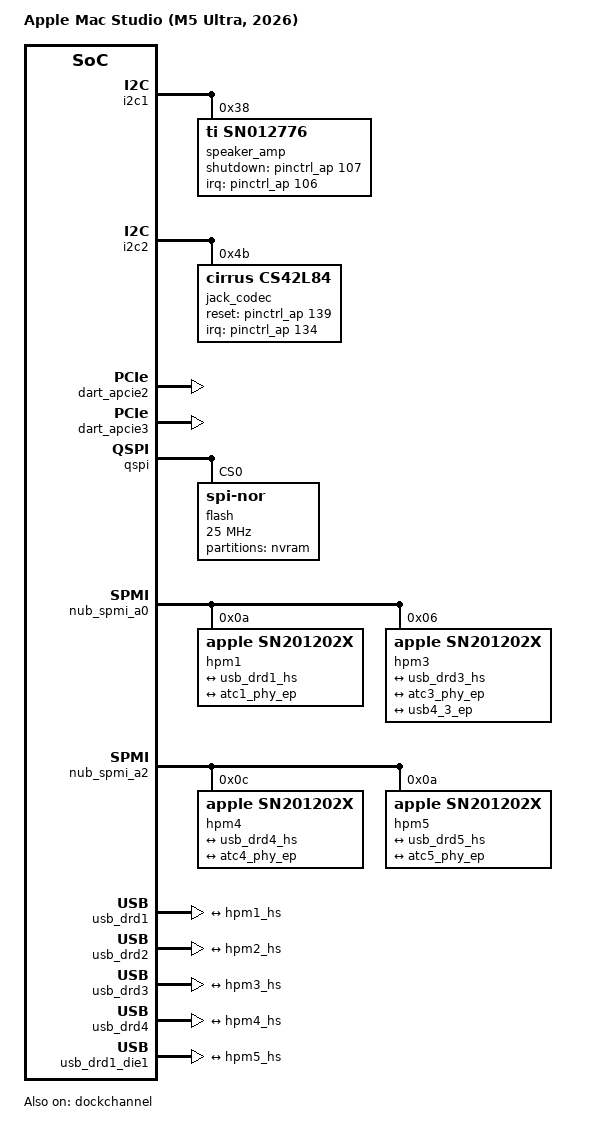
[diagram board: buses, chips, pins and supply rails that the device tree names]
// SPDX-License-Identifier: GPL-2.0+ OR MIT
/*
 * Mac Studio (M5 Ultra, 2026)
 *
 * target-type: J775D
 *
 * Copyright The Asahi Linux Contributors
 */

/dts-v1/;

#include "t6050-ultra.dtsi"

/ {
	compatible = "apple,j775d", "apple,t6050", "apple,arm-platform";
	model = "Apple Mac Studio (M5 Ultra, 2026)";
	chassis-type = "desktop";

	aliases {
		serial0 = &dockchannel;
		/* the boot loader fills in the MAC address through this alias */
		ethernet0 = &ethernet0;
		/* kboot fills the N1's factory addresses from /chosen through these */
		wifi0 = &n1_alpha;
		bluetooth0 = &n1_beta;
		/* Aura's kboot_setup_atc() fills this PHY's tunables from /arm-io/atc-phy2. */
		atcphy2 = &atc2_phy;
		/* The same fills /arm-io/atc-phy1's (rear USB-C port 2, USB data). */
		atcphy1 = &atc1_phy;
		/* And rear port 4's and the front ports' (die 1), while their chains wait for the PHY. */
		atcphy3 = &atc3_phy;
		atcphy4 = &atc4_phy;
		atcphy5 = &atc1_phy_die1;
		/* Aura's ACIO tunable copy fills rear port 4's router (/arm-io/acio3) through these. */
		usb4-3-acio = &acio3;
		usb4-3-nhi = &acio3_nhi;
		/* asahi-bless and the boot loader's dt_set_nvram find the partition by this alias */
		nvram = &nvram;
	};

	/*
	 * No stdout-path: the boot loader passes the console on the command
	 * line when it wants one.
	 */
	chosen {
		#address-cells = <2>;
		#size-cells = <2>;
		ranges;
	};

	/*
	 * The jack (CS42L84) and the speaker (SN012776) through the AOP's audio services. The card waits
	 * for its CPU component, the AOP audio node, which exists only after Aura's AOP handoff.
	 */
	sound {
		compatible = "apple,j775d-macaudio", "apple,macaudio";
		model = "Mac Studio J775D";
		#address-cells = <1>;
		#size-cells = <0>;

		dai-link@0 {
			reg = <0>;
			link-name = "Headphone Jack";

			cpu {
				sound-dai = <&aop_audio 0>;
			};

			codec {
				sound-dai = <&jack_codec>;
			};
		};

		dai-link@1 {
			reg = <1>;
			link-name = "Speaker";

			cpu {
				sound-dai = <&aop_audio 3>;
			};

			codec {
				sound-dai = <&speaker_amp>;
			};
		};
	};
};

/*
 * PCIe ports 2 (the onboard 10 Gb Ethernet) and 3 (the rear USB-A xHCI). The boot loader
 * powers and trains both links; it disables a port, and its DART, whose link did not come up.
 *
 * Port 0 carries the N1 (Wi-Fi and Bluetooth), described disabled until the boot loader trains
 * it (pci@0,0 below).
 */
&pcie0 {
	reg = <0x1c 0xb0000000 0x0 0x10000000>,
	      <0x4 0x14000000 0x0 0x4000>,
	      <0x4 0x12028000 0x0 0x8000>,
	      <0x4 0x17018000 0x0 0x4000>,
	      <0x4 0x12024000 0x0 0x4000>,
	      <0x4 0x13028000 0x0 0x8000>,
	      <0x4 0x1701c000 0x0 0x4000>,
	      <0x4 0x13024000 0x0 0x4000>,
	      <0x4 0x10028000 0x0 0x8000>,
	      <0x4 0x17010000 0x0 0x4000>,
	      <0x4 0x10024000 0x0 0x4000>;
	reg-names = "config", "rc", "port2", "phy2", "intr2axi2",
		    "port3", "phy3", "intr2axi3",
		    "port0", "phy0", "intr2axi0";
	interrupts = <AIC_IRQ 0 1539 IRQ_TYPE_LEVEL_HIGH>,
		     <AIC_IRQ 0 1547 IRQ_TYPE_LEVEL_HIGH>,
		     <AIC_IRQ 0 1523 IRQ_TYPE_LEVEL_HIGH>;
	interrupt-names = "port2", "port3", "port0";

	/*
	 * The boot loader numbers port 2's secondary bus 1 and port 3's 2;
	 * port 0's is 3 until a boot loader that trains it renumbers all three
	 * in the PCI core's order. The N1's three functions are on DART
	 * streams 1-3.
	 */
	iommu-map = <0x100 &dart_apcie2 1 1>,
		    <0x200 &dart_apcie3 1 1>,
		    <0x300 &dart_apcie0 1 3>;
	bus-range = <0 3>;

	port02: pci@2,0 {
		device_type = "pci";
		reg = <0x1000 0 0 0 0>;
		bus-range = <1 1>;
		apple,link-trained-by-bootloader;

		#address-cells = <3>;
		#size-cells = <2>;
		ranges;

		interrupt-controller;
		#interrupt-cells = <1>;
		interrupt-map-mask = <0 0 0 7>;
		interrupt-map = <0 0 0 1 &port02 0 0 0 0>,
				<0 0 0 2 &port02 0 0 0 1>,
				<0 0 0 3 &port02 0 0 0 2>,
				<0 0 0 4 &port02 0 0 0 3>;

		/* The RTL8127A keeps no MAC address of its own */
		ethernet0: ethernet@0,0 {
			reg = <0x10000 0x0 0x0 0x0 0x0>;
			/* To be filled by the loader */
			local-mac-address = [00 00 00 00 00 00];
		};
	};

	port03: pci@3,0 {
		device_type = "pci";
		reg = <0x1800 0 0 0 0>;
		bus-range = <2 2>;
		apple,link-trained-by-bootloader;

		#address-cells = <3>;
		#size-cells = <2>;
		ranges;

		interrupt-controller;
		#interrupt-cells = <1>;
		interrupt-map-mask = <0 0 0 7>;
		interrupt-map = <0 0 0 1 &port03 0 0 0 0>,
				<0 0 0 2 &port03 0 0 0 1>,
				<0 0 0 3 &port03 0 0 0 2>,
				<0 0 0 4 &port03 0 0 0 3>;
	};

	/*
	 * The N1 Wi-Fi/Bluetooth (106b:1900, its ROM), trained by the bootloader after the SMC
	 * releases its reset. Its driver boots the firmware and has this port reset after the ROM
	 * stage; Control, Alpha (Wi-Fi) and Beta (Bluetooth) then answer at functions 0-2.
	 * Disabled with its DART: a bootloader that trains the port enables both and renumbers the
	 * buses here (bus-range, reg, iommu-map) to the PCI core's order, port 0 first.
	 */
	port00: pci@0,0 {
		device_type = "pci";
		reg = <0x0 0 0 0 0>;
		bus-range = <3 3>;
		apple,link-trained-by-bootloader;
		/*
		 * Its PERST# (pci-bridge0 function-perst): /arm-io/gpio0 pin 0x50, pad
		 * register 0x140 of pinctrl_ap, which owns the pad (and exposes it: see
		 * its gpio-reserved-ranges below). Driven only by the root-port reset after
		 * the N1's ROM stage.
		 */
		reset-gpios = <&pinctrl_ap 80 GPIO_ACTIVE_LOW>;
		status = "disabled";

		#address-cells = <3>;
		#size-cells = <2>;
		ranges;

		interrupt-controller;
		#interrupt-cells = <1>;
		interrupt-map-mask = <0 0 0 7>;
		interrupt-map = <0 0 0 1 &port00 0 0 0 0>,
				<0 0 0 2 &port00 0 0 0 1>,
				<0 0 0 3 &port00 0 0 0 2>,
				<0 0 0 4 &port00 0 0 0 3>;

		/* The firmware: the chip's image with this board's ticket; platform ID is
		 * (board 0x12 << 16) | chip 0x6050 */
		n1_control: control@0,0 {
			compatible = "pci106b,1900";
			reg = <0x30000 0x0 0x0 0x0 0x0>;
			firmware-name = "apple/centauri/j775d-ftab.bin";
			apple,centauri-platform-id = <0x00126050>;
			apple,centauri-protocol = <27>;
		};

		n1_alpha: wifi@0,1 {
			compatible = "pci106b,1902";
			reg = <0x30100 0x0 0x0 0x0 0x0>;
			local-mac-address = [00 00 00 00 00 00];
		};

		n1_beta: bluetooth@0,2 {
			compatible = "pci106b,1903";
			reg = <0x30200 0x0 0x0 0x0 0x0>;
			local-bd-address = [00 00 00 00 00 00];
		};
	};
};

/* The pins this board's nodes name, and no others */
&pinctrl_ap {
	/*
	 * Every pin reads cleanly, but only
	 * the pins a node in this file names are exposed: 80 (PCIe port 0's PERST#, ADT
	 * pci-bridge0 function-perst), 106 (amp IRQ), 107 (amp shutdown), 134 (jack IRQ)
	 * and 139 (jack codec reset), from the ADT's audio-speaker and audio-codec-output.
	 * A reserved line cannot be requested (gpiolib answers -EINVAL), so a node that
	 * names a new pin of pinctrl_ap opens it here too.
	 */
	gpio-reserved-ranges = <0 80>, <81 25>, <108 26>, <135 4>, <140 81>;
};

&i2c1 {
	/*
	 * ADT speaker-config: playback slot 0, amp gain 20, V sense in slot 0 and I sense
	 * in slot 2. The firmware's speaker frame is 250 BCLKs of 12 MHz (ADT
	 * iop-audio-controller/audio-speaker), which the amp's ratio detection rejects.
	 */
	speaker_amp: codec@38 {
		compatible = "ti,sn012776", "ti,tas2764";
		reg = <0x38>;
		shutdown-gpios = <&pinctrl_ap 107 GPIO_ACTIVE_HIGH>;
		interrupts-extended = <&pinctrl_ap 106 IRQ_TYPE_LEVEL_LOW>;
		#sound-dai-cells = <0>;
		ti,imon-slot-no = <2>;
		ti,vmon-slot-no = <0>;
	};
};

&i2c2 {
	jack_codec: codec@4b {
		compatible = "cirrus,cs42l84";
		reg = <0x4b>;
		reset-gpios = <&pinctrl_ap 139 GPIO_ACTIVE_HIGH>;
		interrupts-extended = <&pinctrl_ap 134 IRQ_TYPE_LEVEL_LOW>;
		#sound-dai-cells = <0>;
		sound-name-prefix = "Jack";
	};
};

/*
 * The console is on the USB debug link, which drains only while a host reads
 * it; the machine also boots with nothing attached there.
 */
&dockchannel {
	apple,tx-never-wait;
	status = "okay";
};

&dart_apcie2 {
	status = "okay";
};

&dart_apcie3 {
	status = "okay";
};

/*
 * The Studio's DC input. PSTR and PDTR read 0 on the Studio; PD0R is its DC input (36.5 W at an
 * idle desktop).
 */
&smc_hwmon {
	power-PD0R {
		apple,key-id = "PD0R";
		label = "DC Input Power";
	};
};

#include "hwmon-fan-dual.dtsi"

/*
 * The Studio's SMC has F0Ac/F0Mn/F0Mx/F0Tg and F1*, but its mode keys are F0md/F1md (ui8, flags 0xd0:
 * readable, writable, a function key), not the F0Md/F1Md the dtsi names; with the dtsi's names fan
 * creation failed on the missing key. With the real keys the fans can be set by the kernel's
 * thermal policy (the M5 GPU governor, through macsmc_hwmon_fans_request()). No
 * apple,fan-manual-control: userspace still only reads them.
 */
&smc_hwmon {
	fan-F0Ac {
		apple,fan-mode = "F0md";
	};

	fan-F1Ac {
		apple,fan-mode = "F1md";
	};
};

/*
 * The boot NOR's NVRAM: the loader fills the partition from ADT /arm-io/qspi/spinor/anvram reg
 * (0x700000, 0xc0000 here), 12 banks of 64 KiB (/chosen nvram-bank-count, nvram-bank-size). The
 * flash is spinor's CS0 (its reg's first cell; the second is 0x19, 25), clocked as on T8140's
 * J700. Only this partition is exposed (no MTD_PARTITIONED_MASTER), so the rest of the boot NOR
 * has no device node, and the controller's T8140 policy admits programs and erases only inside
 * this partition.
 */
&qspi {
	status = "okay";

	flash@0 {
		compatible = "jedec,spi-nor";
		reg = <0>;
		spi-max-frequency = <25000000>;
		/* Single-wire, as on T8132's J713: no quad-enable status write at probe */
		spi-rx-bus-width = <1>;
		spi-tx-bus-width = <1>;

		partitions {
			compatible = "fixed-partitions";
			#address-cells = <1>;
			#size-cells = <1>;

			nvram: partition@700000 {
				label = "nvram";
				/* To be filled by the loader */
				reg = <0x0 0x0>;
				status = "disabled";
			};
		};
	};
};

/*
 * The HDMI converter's two power outputs (ADT dp2hdmi-gpio1): line 0 hdmi_pwr_en ('pcIO',
 * 0x800000, 0xf0000), line 1 dp2hdmi_pwr_en ('pcIO', 0x0, 0x1a0000). Nothing drives them until
 * the HDMI output does.
 */
&smc_pcio {
	apple,output-commands = /bits/ 64 <0x000f000000800000 0x001a000000000000>;
};

/*
 * The USB-C ports: rear ports 1-4 on ATC0-3 of die 0, front ports 5 and 6 on ATC0 and ATC1 of
 * die 1. The HPMs of the rear ports are on nub-spmi-a0, those of the front ports on nub-spmi-a2.
 */
&nub_spmi_a0 {
	/*
	 * /arm-io/nub-spmi-a0/hpm0: SN201202x (ACE3), SPMI address 0xc, port-number 1 (back-right).
	 * Reserved: rear port 1 carries the DFU cable, the host's VDM reboot path and the
	 * debug console (KIS) through usb-drd0; a probe wakes the controller and sets its
	 * power state even when polled. No ATC0, usb-drd0 or dart-usb0 node either.
	 */
	hpm0: usb-pd@c {
		compatible = "apple,sn201202x";
		reg = <0xc SPMI_USID>;
		status = "disabled";
	};

	/* /arm-io/nub-spmi-a0/hpm1: SN201202x (ACE3), SPMI address 0xa, port-number 2 */
	hpm1: usb-pd@a {
		compatible = "apple,sn201202x";
		reg = <0xa SPMI_USID>;

		connector {
			compatible = "usb-c-connector";
			label = "USB-C Back-right-middle";
			power-role = "dual";
			data-role = "host";

			ports {
				#address-cells = <1>;
				#size-cells = <0>;

				port@0 {
					reg = <0>;
					hpm1_hs: endpoint {
						remote-endpoint = <&usb_drd1_hs>;
					};
				};

				port@1 {
					reg = <1>;
					hpm1_ss: endpoint {
						remote-endpoint = <&atc1_phy_ep>;
					};
				};
			};
		};
	};

	/* /arm-io/nub-spmi-a0/hpm2: SN201202x (ACE3), SPMI address 8, port-number 3 */
	hpm2: usb-pd@8 {
		compatible = "apple,sn201202x";
		reg = <0x8 SPMI_USID>;
		status = "disabled";

		connector {
			compatible = "usb-c-connector";
			label = "USB-C Back-left-middle";
			power-role = "dual";
			data-role = "dual";

			ports {
				#address-cells = <1>;
				#size-cells = <0>;

				port@0 {
					reg = <0>;
					hpm2_hs: endpoint {
						remote-endpoint = <&usb_drd2_hs>;
					};
				};

				port@1 {
					reg = <1>;
					hpm2_ss: endpoint {
						remote-endpoint = <&atc2_phy_ep>;
					};
				};

				port@2 {
					reg = <2>;
					hpm2_dp: endpoint {
						remote-endpoint = <&dcpext0_typec>;
					};
				};
			};
		};
	};

	/* /arm-io/nub-spmi-a0/hpm3: SN201202x (ACE3), SPMI address 6, port-number 4 */
	hpm3: usb-pd@6 {
		compatible = "apple,sn201202x";
		reg = <0x6 SPMI_USID>;

		connector {
			compatible = "usb-c-connector";
			label = "USB-C Back-left";
			power-role = "dual";
			data-role = "host";

			ports {
				#address-cells = <1>;
				#size-cells = <0>;

				port@0 {
					reg = <0>;
					hpm3_hs: endpoint {
						remote-endpoint = <&usb_drd3_hs>;
					};
				};

				port@1 {
					reg = <1>;
					hpm3_ss: endpoint {
						remote-endpoint = <&atc3_phy_ep>;
					};
				};

				/* The USB4 router (acio3), the PD driver's thunderbolt-switch */
				port@2 {
					reg = <2>;
					hpm3_tbt: endpoint {
						remote-endpoint = <&usb4_3_ep>;
					};
				};
			};
		};
	};
};

&nub_spmi_a2 {
	/* /arm-io/nub-spmi-a2/hpm4: SN201202x (ACE3), SPMI address 0xc, port-number 5 */
	hpm4: usb-pd@c {
		compatible = "apple,sn201202x";
		reg = <0xc SPMI_USID>;

		connector {
			compatible = "usb-c-connector";
			label = "USB-C Front-right";
			power-role = "dual";
			data-role = "host";

			ports {
				#address-cells = <1>;
				#size-cells = <0>;

				port@0 {
					reg = <0>;
					hpm4_hs: endpoint {
						remote-endpoint = <&usb_drd4_hs>;
					};
				};

				port@1 {
					reg = <1>;
					hpm4_ss: endpoint {
						remote-endpoint = <&atc4_phy_ep>;
					};
				};
			};
		};
	};

	/* /arm-io/nub-spmi-a2/hpm5: SN201202x (ACE3), SPMI address 0xa, port-number 6 */
	hpm5: usb-pd@a {
		compatible = "apple,sn201202x";
		reg = <0xa SPMI_USID>;

		connector {
			compatible = "usb-c-connector";
			label = "USB-C Front-left";
			power-role = "dual";
			data-role = "host";

			ports {
				#address-cells = <1>;
				#size-cells = <0>;

				port@0 {
					reg = <0>;
					hpm5_hs: endpoint {
						remote-endpoint = <&usb_drd5_hs>;
					};
				};

				port@1 {
					reg = <1>;
					hpm5_ss: endpoint {
						remote-endpoint = <&atc5_phy_ep>;
					};
				};
			};
		};
	};
};

/*
 * Rear USB-C port 2 (HPM1, "back-right-middle"), USB data: ATC1's combo PHY, usb-drd1 and
 * dart-usb1.
 */
&atc1_phy {
	port {
		atc1_phy_ep: endpoint {
			remote-endpoint = <&hpm1_ss>;
		};
	};
};

&usb_drd1 {
	port {
		usb_drd1_hs: endpoint {
			remote-endpoint = <&hpm1_hs>;
		};
	};
};

/*
 * Rear USB-C port 3 (HPM2, "back-left-middle", the display port): DisplayPort out from dcpext0
 * through ATC2, and USB beside it (usb-drd2, dart-usb2). The chain stays disabled: Aura's T6050
 * display handoff enables what dcpext0 references (phys, mux-controls, the PHY's mailbox and
 * power domains, the typec route's HPM and its SPMI bus).
 */
&atc2_phy {
	port {
		atc2_phy_ep: endpoint {
			remote-endpoint = <&hpm2_ss>;
		};
	};
};

&usb_drd2 {
	port {
		usb_drd2_hs: endpoint {
			remote-endpoint = <&hpm2_hs>;
		};
	};
};

&dcpext0 {
	typec-routes {
		route@0 {
			port {
				dcpext0_typec: endpoint {
					remote-endpoint = <&hpm2_dp>;
				};
			};
		};
	};
};

/* Rear USB-C port 4 (HPM3, "back-left"): ATC3, and its USB4/Thunderbolt router */
&atc3_phy {
	port {
		atc3_phy_ep: endpoint {
			remote-endpoint = <&hpm3_ss>;
		};
	};
};

&usb_drd3 {
	port {
		usb_drd3_hs: endpoint {
			remote-endpoint = <&hpm3_hs>;
		};
	};
};

&acio3 {
	ports {
		#address-cells = <1>;
		#size-cells = <0>;

		port@1 {
			reg = <1>;
			usb4_3_ep: endpoint {
				remote-endpoint = <&hpm3_tbt>;
			};
		};
	};
};

/* Front USB-C port 5 (HPM4, "front-right"): die 1's ATC0 */
&atc4_phy {
	port {
		atc4_phy_ep: endpoint {
			remote-endpoint = <&hpm4_ss>;
		};
	};
};

&usb_drd4 {
	port {
		usb_drd4_hs: endpoint {
			remote-endpoint = <&hpm4_hs>;
		};
	};
};

/* Front USB-C port 6 (HPM5, "front-left"): die 1's ATC1 */
&atc1_phy_die1 {
	port {
		atc5_phy_ep: endpoint {
			remote-endpoint = <&hpm5_ss>;
		};
	};
};

&usb_drd1_die1 {
	port {
		usb_drd5_hs: endpoint {
			remote-endpoint = <&hpm5_hs>;
		};
	};
};

/*
 * The HDMI port: dcpext4, die 1's dcpext0, through its fixed route (die 1's display crossbar,
 * ufp endpoint 0, to lpdptx-phy1, dfp endpoint 4). Aura's T6050 handoff enables it with dcpext0
 * when the engine passes the same checks. No output yet: the HDMI PHY, its converter's power and
 * hotplug come with their drivers.
 */
&dcpext0_die1 {
	apple,connector-type = "HDMI-A";
	apple,dptx-die = <1>;
	apple,dptx-phy = <4>;
	/*
	 * The fixed HDMI route: the PHY (its source select picks this engine: the crossbar has no
	 * registers), the converter's hotplug output (AOP GPIO 14, active high) and its two power
	 * enables (the SMC's pcIO pins 15 and 26).
	 */
	phys = <&lpdptx_phy1>;
	phy-names = "dp-phy";
	hdmi-hpd-gpios = <&pinctrl_aop 14 GPIO_ACTIVE_HIGH>;
	hdmi-pwren-gpios = <&smc_pcio 0 GPIO_ACTIVE_HIGH>;
	dp2hdmi-pwren-gpios = <&smc_pcio 1 GPIO_ACTIVE_HIGH>;
};

#define T6050_J775D
#include "t6050-peripherals.dtsi"
